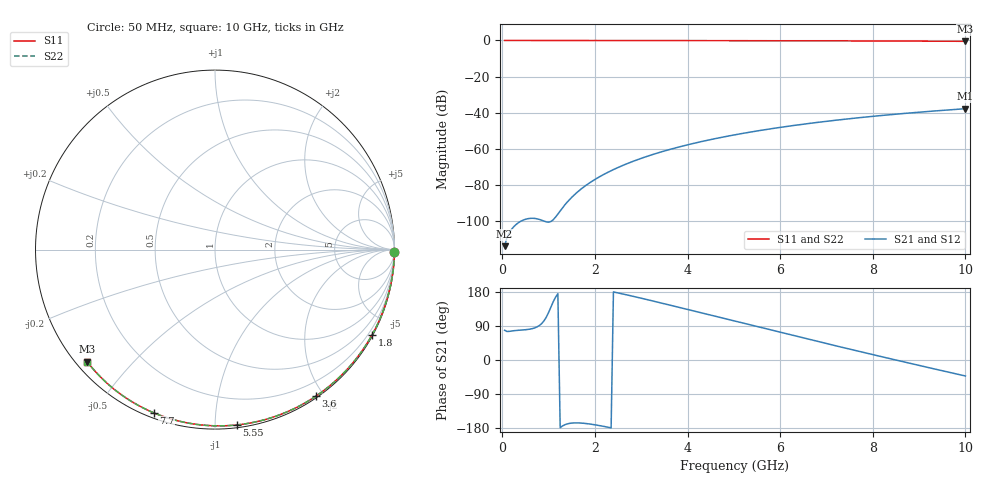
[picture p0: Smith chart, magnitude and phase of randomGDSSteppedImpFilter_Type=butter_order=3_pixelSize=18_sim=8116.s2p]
! freq	dB(S11)	phase(S11)	dB(S12)	phase(S12)
!  dB(S21)	phase(S21)	dB(S22)	phase(S22)
!S-par simulation data
#  GHz  S  DB  R 50
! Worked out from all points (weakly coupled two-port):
!   200 points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, 50 MHz to 10 GHz, reference 50 ohm
!   highest |S21| = -37.88 dB at 10 GHz (marker M1); lowest = -114.1 dB at 50 MHz (marker M2)
!   lowest |S11| = -0.5 dB at 10 GHz (marker M3), VSWR 36.93, Z = 1.55 - j18.8 ohm
!   |S11| at or under -10 dB: nowhere
!   |S22| runs from -0.5 to 0.0 dB; largest |S21 - S12| = 0
!   S11 on the Smith chart (normalised r, x): 50 MHz: open; 1.8 GHz: 0.03, -3.95; 3.6 GHz: 0.02, -1.90; 5.55 GHz: 0.02, -1.13; 7.7 GHz: 0.02, -0.69; 10 GHz: 0.03, -0.38
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0.05  -0.00 -0.8  -114.14 78.5  -114.14 78.5  -0.00 -0.8
0.45  -0.01 -7.2  -99.68 79.3  -99.68 79.3  -0.01 -7.2
0.9  -0.02 -14.4  -100.22 103.3  -100.22 103.3  -0.02 -14.4
1.75  -0.04 -27.7  -81.47 -166.9  -81.47 -166.9  -0.04 -27.7
1.8  -0.04 -28.4  -80.52 -167.5  -80.52 -167.5  -0.04 -28.4
1.85  -0.04 -29.2  -79.62 -168.3  -79.62 -168.3  -0.04 -29.2
2.05  -0.04 -32.3  -76.36 -172.0  -76.36 -172.0  -0.04 -32.3
2.25  -0.05 -35.4  -73.53 -176.6  -73.53 -176.6  -0.05 -35.4
2.55  -0.05 -39.9  -69.90 175.7  -69.90 175.7  -0.05 -39.9
2.95  -0.06 -46.0  -65.86 164.5  -65.86 164.5  -0.06 -46.0
3.4  -0.07 -52.6  -62.07 151.4  -62.07 151.4  -0.07 -52.6
3.6  -0.07 -55.5  -60.59 145.4  -60.59 145.4  -0.07 -55.5
3.9  -0.08 -59.9  -58.54 136.4  -58.54 136.4  -0.08 -59.9
4.3  -0.09 -65.6  -56.10 124.3  -56.10 124.3  -0.09 -65.6
5.05  -0.12 -76.1  -52.21 101.7  -52.21 101.7  -0.12 -76.1
5.55  -0.14 -82.9  -50.01 86.6  -50.01 86.6  -0.14 -82.9
6.1  -0.16 -90.2  -47.86 70.1  -47.86 70.1  -0.16 -90.2
6.7  -0.19 -98.0  -45.80 52.2  -45.80 52.2  -0.19 -98.0
7.7  -0.25 -110.6  -42.87 22.9  -42.87 22.9  -0.25 -110.6
8.35  -0.30 -118.7  -41.25 4.2  -41.25 4.2  -0.30 -118.7
9.2  -0.38 -129.0  -39.39 -19.9  -39.39 -19.9  -0.38 -129.1
10  -0.47 -138.8  -37.88 -42.2  -37.88 -42.2  -0.47 -138.8
